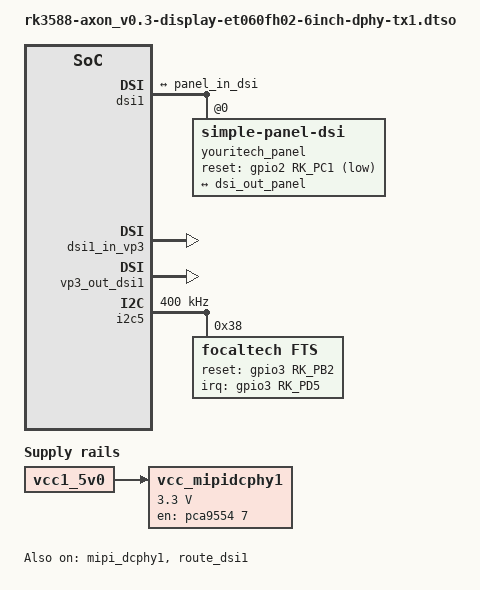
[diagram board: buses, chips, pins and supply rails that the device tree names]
//SPDX-License-Identifier: GPL-2..0+
// Copyright (C) 2024 Vicharak Computers PVT LTD

/dts-v1/;
/plugin/;

#include <dt-bindings/gpio/gpio.h>
#include <dt-bindings/pinctrl/rockchip.h>
#include <dt-bindings/display/drm_mipi_dsi.h>
#include <dt-bindings/interrupt-controller/irq.h>

&{/} {
	metadata {
		title = "Enable ET060FH02 6inch AMOLED DSI LCD on DPHY TX1";
		compatible = "vicharak,rk3588-axon", "rockchip,rk3588";
		category = "display";
		exclusive = "dsi1", "vp3", "dsi1_in_vp3", "vp3_out_dsi1";
		description = "Enables support for the ET060FH02 6-inch AMOLED DSI LCD screen (CH13721C).\nPlease note that HDMI/DP output will be disabled as a result.";
	};

	vcc_mipidcphy1: vcc-mipi-dcphy1 {
		compatible = "regulator-fixed";
		regulator-name = "vcc_mipidcphy1";
		regulator-min-microvolt = <3300000>;
		regulator-max-microvolt = <3300000>;
		gpio = <&pca9554 7 GPIO_ACTIVE_HIGH>;
		regulator-always-on;
		regulator-boot-on;
		enable-active-high;
		vin-supply = <&vcc1_5v0>;
	};
};

&mipi_dcphy1 {
	status = "okay";
};

&dsi1 {
	status = "okay";
	#address-cells = <1>;
	#size-cells = <0>;

	youritech_panel: panel@0 {
        compatible = "simple-panel-dsi";
		reg = <0>;
		rotation = <0>;
		reset-gpios = <&gpio2 RK_PC1 GPIO_ACTIVE_LOW>;
		pinctrl-names = "default";
		pinctrl-0 = <&dsi1_lcd_rst_gpio>;
        status = "okay";

		reset-delay-ms = <120>;

		prepare-delay-ms = <120>;
		init-delay-ms = <120>;
		enable-delay-ms = <100>;
		disable-delay-ms = <120>;
		unprepare-delay-ms = <120>;

		width-mm = <62>;
		height-mm = <110>;

		dsi,flags = <(MIPI_DSI_MODE_VIDEO | MIPI_DSI_MODE_VIDEO_BURST |
			MIPI_DSI_MODE_LPM | MIPI_DSI_MODE_EOT_PACKET)>;
		dsi,format = <MIPI_DSI_FMT_RGB888>;
		dsi,lanes = <4>;

		panel-init-sequence = [
			39 00 02 35 00
			05 78 01 11
			05 28 01 29
			39 00 02 53 00
		];

		panel-exit-sequence = [
			05 78 01 28
			05 00 01 10
		];

		display-timings {
			native-mode = <&timing0>;
			timing0: timing0 {
				clock-frequency = <145458240>;
				hactive = <1080>;
				vactive = <2160>;

				vback-porch = <12>;
				vfront-porch = <12>;

				hback-porch = <12>;
				hfront-porch = <12>;

				hsync-len = <4>;
				vsync-len = <4>;

				vsync-active = <0>;
				hsync-active = <0>;
				de-active = <0>;
				pixelclk-active = <0>;
			};
		};

		ports {
            #address-cells = <1>;
            #size-cells = <0>;

            port@0 {
                reg = <0>;
                panel_in_dsi: endpoint {
                    remote-endpoint = <&dsi_out_panel>;
                };
            };
        };
    };

	ports {
		#address-cells = <1>;
		#size-cells = <0>;

		port@1 {
			reg = <1>;

			dsi_out_panel: endpoint {
				remote-endpoint = <&panel_in_dsi>;
			};
		};
	};
};

&dsi1_in_vp2 {
	status = "disabled";
};

&dsi1_in_vp3 {
	status = "okay";
};

&vp3_out_dsi1 {
	status = "okay";
};

&route_dsi1 {
	status = "okay";
	connect = <&vp3_out_dsi1>;
};

&i2c5 {
	status = "okay";
	clock-frequency = <400000>;
	#address-cells = <1>;
	#size-cells = <0>;

	focaltech@38 {
		compatible = "focaltech,fts";
		status = "okay";
		reg = <0x38>;
		interrupt-parent = <&gpio3>;
		interrupts = <RK_PD5 IRQ_TYPE_LEVEL_LOW>;
		pinctrl-names = "default";
		pinctrl-0 = <&focaltech_gpio>;
		focaltech,reset-gpio = <&gpio3 RK_PB2 GPIO_ACTIVE_HIGH>;
		focaltech,irq-gpio = <&gpio3 RK_PD5 IRQ_TYPE_LEVEL_LOW>;
		focaltech,max-touch-number = <10>;
		focaltech,display-coords = <0 0 1079 2159>;
	};
};

&pinctrl {
	dsi1-lcd {
		dsi1_lcd_rst_gpio: dsi1-lcd-rst-gpio {
			rockchip,pins = <2 RK_PC1 RK_FUNC_GPIO &pcfg_pull_up>;
		};
	};

	focaltech {
		focaltech_gpio: focaltech-gpio {
			rockchip,pins =
				<3 RK_PB2 RK_FUNC_GPIO &pcfg_pull_none>,
				<3 RK_PD5 RK_FUNC_GPIO &pcfg_pull_up>;
		};
	};
};
